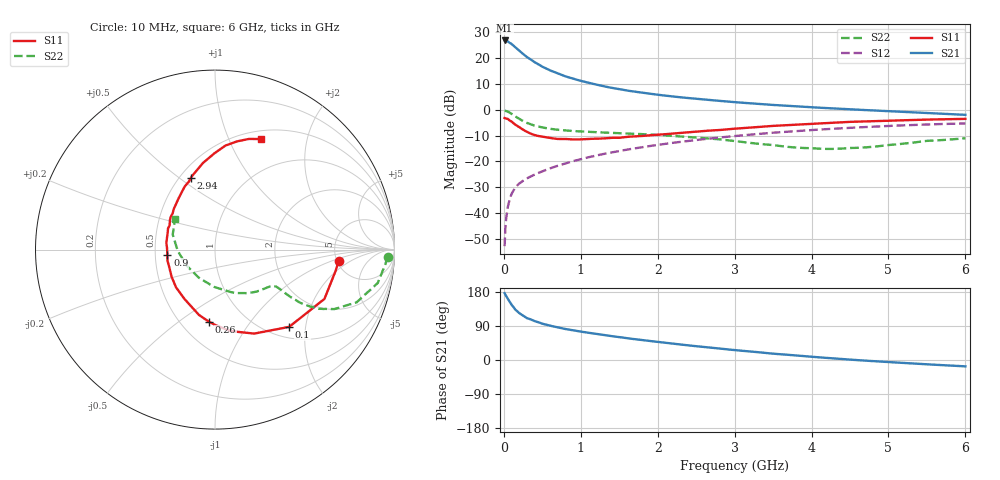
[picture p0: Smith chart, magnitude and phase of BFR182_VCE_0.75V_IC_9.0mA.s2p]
! Infineon Technologies  Discrete & RF Semiconductors
! BFR182
! VCE = 0.75 V,  IC =  9.0 mA
! Common Emitter S-Parameters:  Nov 2015
# GHz  S  MA  R  50
!  f  S11  S21  S12  S22
! GHz  MAG  ANG  MAG  ANG  MAG  ANG  MAG  ANG
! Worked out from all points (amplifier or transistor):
!   210 points, 10 MHz to 6 GHz, reference 50 ohm
!   highest |S21| = 26.8 dB at 10 MHz (marker M1)
!   |S21| within 3 dB of that: start of sweep to 163.9 MHz
!   unconditionally stable (mu >= 1): 631.5 MHz to 3.267 GHz
!   at 185 MHz: K = 0.52, MSG = 26.1 dB, |S12| = -29.0 dB
!   at 1.52 GHz: K = 1.11, MAG = 9.9 dB, |S12| = -15.9 dB
!   at 6 GHz: K = 0.96, MSG = 1.7 dB, |S12| = -5.3 dB
!   S11 on the Smith chart (normalised r, x): 10 MHz: 5.17, -1.27; 100 MHz: 1.22, -1.62; 260 MHz: 0.68, -0.65; 900 MHz: 0.58, -0.04; 2.94 GHz: 0.57, +0.56; 6 GHz: 0.59, +1.32
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0.01  0.692 -5.3  21.88 176.3  0.0023 84.6  0.963 -2.3
0.02  0.6824 -10.0  21.71 172.2  0.0052 80.6  0.953 -4.8
0.05  0.6688 -24.3  21.02 161.6  0.0129 78.4  0.9257 -11.6
0.1  0.5964 -46.2  18.77 145.9  0.0235 70.3  0.8415 -20.5
0.15  0.5163 -65.0  16.15 132.7  0.0314 64.3  0.7429 -26.5
0.2  0.4623 -79.2  13.89 123.7  0.0374 62.6  0.6659 -29.7
0.24  0.4203 -89.7  12.35 118.0  0.0413 61.0  0.617 -30.9
0.26  0.4036 -94.7  11.67 115.3  0.0433 60.7  0.5951 -31.3
0.3  0.3748 -103.8  10.46 110.5  0.0471 60.6  0.5561 -32.0
0.4  0.3238 -121.5  8.32 102.6  0.0556 61.0  0.4922 -32.1
0.5  0.3024 -135.9  6.804 95.8  0.0644 62.1  0.4541 -31.7
0.6  0.2852 -147.9  5.783 90.5  0.0734 63.0  0.4284 -31.3
0.7  0.2725 -158.6  5.027 85.8  0.0825 63.7  0.41 -31.2
0.9  0.2668 -173.8  3.981 78.3  0.1013 64.2  0.3879 -31.7
1.02  0.268 177.3  3.562 74.3  0.1125 64.2  0.3794 -32.4
1.4  0.2871 155.7  2.653 63.1  0.1494 63.1  0.3568 -36.6
2.02  0.3298 132.1  1.936 47.4  0.2111 58.7  0.3254 -46.4
2.94  0.4223 108.3  1.428 27.3  0.304 49.5  0.2542 -68.9
3.1  0.4405 105.2  1.368 24.3  0.3198 47.6  0.2381 -74.4
4.1  0.5443 89.2  1.096 7.0  0.4139 35.5  0.1766 -126.2
5.1  0.6207 77.3  0.923 -6.6  0.4933 22.6  0.2136 176.9
6  0.6661 67.6  0.797 -16.8  0.5435 10.4  0.2812 142.2
